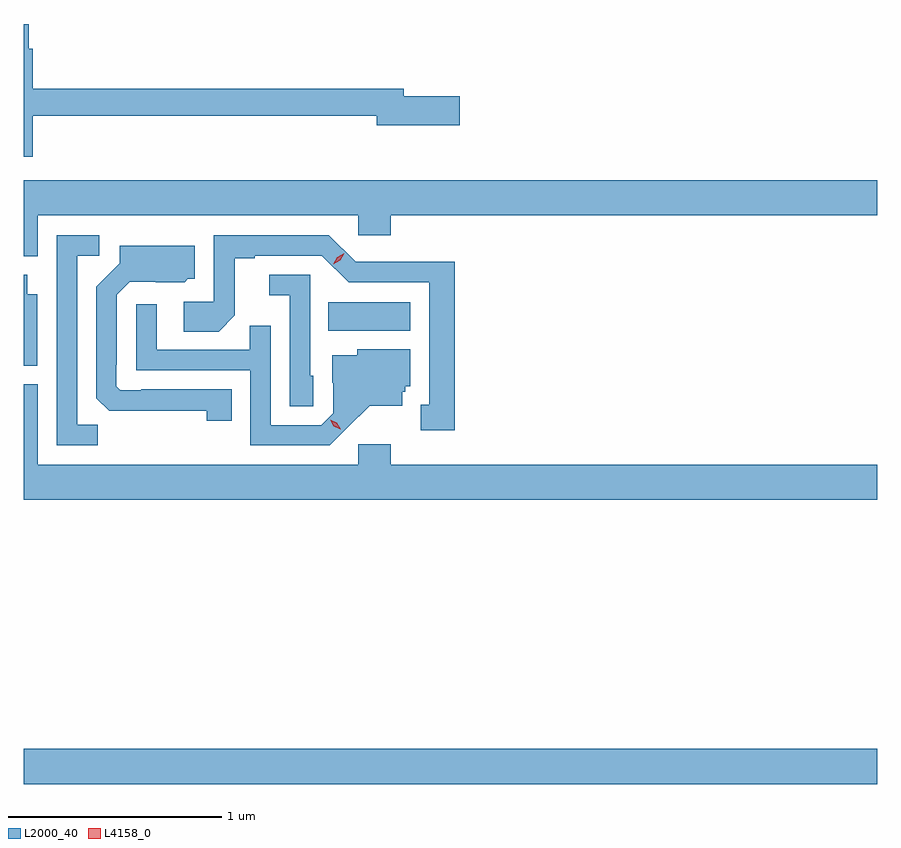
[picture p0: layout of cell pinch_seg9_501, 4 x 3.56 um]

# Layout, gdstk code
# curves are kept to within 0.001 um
import gdstk
lib = gdstk.Library(unit=1e-6, precision=1e-09)
def R(c, l, rs):  # rectangles x0, y0, x1, y1
    for r in rs: c.add(gdstk.rectangle(r[:2], r[2:], *l))
def P(c, l, *ps):  # polygons
    for p in ps: c.add(gdstk.Polygon(p, *l))
L2000_40 = (2000, 40)
L4158_0 = (4158, 0)

pinch_seg9_501 = lib.new_cell('pinch_seg9_501')
R(pinch_seg9_501, L2000_40, [(304.438,1192.424,308.438,1192.588), (305.866,1194.548,306.25,1194.682)])
P(pinch_seg9_501, L2000_40, [(304.481,1195.554),(306.092,1195.554),(306.092,1195.511),(306.481,1195.511),(306.481,1195.646),(306.22,1195.646),(306.22,1195.682),(304.481,1195.682),(304.481,1195.869),(304.462,1195.869),(304.462,1195.985),(304.438,1195.985),(304.438,1195.362),(304.481,1195.362)],
  [(304.504,1195.088),(306.006,1195.088),(306.006,1194.995),(306.158,1194.995),(306.158,1195.088),(308.438,1195.088),(308.438,1195.252),(304.438,1195.252),(304.438,1194.896),(304.504,1194.896)],
  [(306.457,1194.872),(306.216,1194.872),(306.216,1194.87),(305.994,1194.87),(305.868,1194.996),(305.328,1194.996),(305.328,1194.684),(305.187,1194.684),(305.187,1194.544),(305.351,1194.544),(305.427,1194.62),(305.427,1194.888),(305.521,1194.888),(305.521,1194.9),(305.835,1194.9),(305.961,1194.774),(306.338,1194.774),(306.338,1194.201),(306.299,1194.201),(306.299,1194.081),(306.457,1194.081)],
  [(304.785,1194.107),(304.689,1194.107),(304.689,1194.9),(304.792,1194.9),(304.792,1194.996),(304.593,1194.996),(304.593,1194.012),(304.785,1194.012)],
  [(305.414,1194.273),(304.99,1194.273),(304.99,1194.27),(304.89,1194.27),(304.872,1194.288),(304.872,1194.388),(304.875,1194.388),(304.875,1194.717),(304.935,1194.777),(305.192,1194.776),(305.208,1194.792),(305.239,1194.792),(305.239,1194.946),(304.889,1194.946),(304.889,1194.864),(304.779,1194.754),(304.779,1194.232),(304.838,1194.173),(305.296,1194.172),(305.296,1194.126),(305.414,1194.126)],
  [(304.501,1194.718),(304.456,1194.718),(304.456,1194.811),(304.438,1194.811),(304.438,1194.383),(304.501,1194.383)],
  [(305.796,1194.336),(305.781,1194.336),(305.781,1194.81),(305.589,1194.81),(305.589,1194.713),(305.685,1194.713),(305.685,1194.193),(305.796,1194.193)],
  [(305.956,1194.095),(306.059,1194.197),(306.211,1194.197),(306.211,1194.261),(306.225,1194.261),(306.225,1194.288),(306.25,1194.288),(306.25,1194.46),(306,1194.46),(306,1194.433),(305.885,1194.433),(305.885,1194.304),(305.889,1194.304),(305.889,1194.162),(305.832,1194.105),(305.595,1194.105),(305.595,1194.572),(305.497,1194.572),(305.497,1194.459),(305.061,1194.459),(305.061,1194.673),(304.965,1194.673),(304.965,1194.363),(305.499,1194.363),(305.499,1194.012),(305.872,1194.012)],
  [(308.438,1193.92),(306.158,1193.92),(306.158,1194.016),(306.006,1194.016),(306.006,1193.92),(304.504,1193.92),(304.504,1194.298),(304.438,1194.298),(304.438,1193.756),(308.438,1193.756)])
P(pinch_seg9_501, L4158_0, [(305.889,1194.859),(305.889,1194.859),(305.907,1194.892),(305.939,1194.911),(305.939,1194.911),(305.939,1194.91),(305.921,1194.878),(305.889,1194.859)],
  [(305.922,1194.086),(305.892,1194.101),(305.874,1194.13),(305.874,1194.131),(305.874,1194.131),(305.905,1194.116),(305.923,1194.086),(305.923,1194.086)])

lib.write_gds('pinch_seg9_501.gds')
